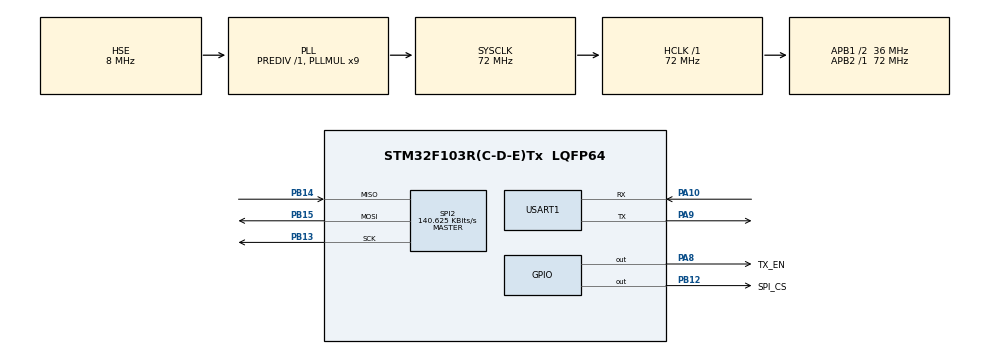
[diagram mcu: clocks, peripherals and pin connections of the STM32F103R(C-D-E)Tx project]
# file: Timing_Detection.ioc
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Dma.Request0=USART1_RX
Dma.Request1=USART1_TX
Dma.USART1_RX.0.Direction=DMA_PERIPH_TO_MEMORY
Dma.USART1_RX.0.Instance=DMA1_Channel5
Dma.USART1_RX.0.MemDataAlignment=DMA_MDATAALIGN_BYTE
Dma.USART1_RX.0.MemInc=DMA_MINC_ENABLE
Dma.USART1_RX.0.Mode=DMA_NORMAL
Dma.USART1_RX.0.PeriphDataAlignment=DMA_PDATAALIGN_BYTE
Dma.USART1_RX.0.PeriphInc=DMA_PINC_DISABLE
Dma.USART1_RX.0.Priority=DMA_PRIORITY_LOW
Dma.USART1_TX.1.Direction=DMA_MEMORY_TO_PERIPH
Dma.USART1_TX.1.Instance=DMA1_Channel4
Dma.USART1_TX.1.MemDataAlignment=DMA_MDATAALIGN_BYTE
Dma.USART1_TX.1.MemInc=DMA_MINC_ENABLE
Dma.USART1_TX.1.Mode=DMA_NORMAL
Dma.USART1_TX.1.PeriphDataAlignment=DMA_PDATAALIGN_BYTE
Dma.USART1_TX.1.PeriphInc=DMA_PINC_DISABLE
Dma.USART1_TX.1.Priority=DMA_PRIORITY_LOW
FREERTOS.Queues01=PlcStaQueue,45,PLC_StaTypeDef,0,Dynamic,NULL,NULL
FREERTOS.Tasks01=defaultTask,0,128,StartDefaultTask,Default,NULL,Dynamic,NULL,NULL
FREERTOS.configGENERATE_RUN_TIME_STATS=0
Mcu.Family=STM32F1
Mcu.Name=STM32F103R(C-D-E)Tx
Mcu.Package=LQFP64
NVIC.DMA1_Channel4_IRQn=true\:5\:0\:false\:false\:true\:true\:false\:true
NVIC.DMA1_Channel5_IRQn=true\:5\:0\:false\:false\:true\:true\:false\:true
NVIC.EXTI0_IRQn=true\:5\:0\:false\:false\:true\:true\:true\:true
NVIC.EXTI15_10_IRQn=true\:5\:0\:false\:false\:true\:true\:true\:true
NVIC.EXTI1_IRQn=true\:5\:0\:false\:false\:true\:true\:true\:true
NVIC.EXTI2_IRQn=true\:5\:0\:false\:false\:true\:true\:true\:true
NVIC.EXTI3_IRQn=true\:5\:0\:false\:false\:true\:true\:true\:true
NVIC.PriorityGroup=NVIC_PRIORITYGROUP_4
NVIC.TIM7_IRQn=true\:0\:0\:false\:false\:true\:false\:false\:true
NVIC.TimeBase=TIM7_IRQn
NVIC.TimeBaseIP=TIM7
NVIC.USART1_IRQn=true\:6\:0\:true\:true\:true\:1\:true\:true\:true
<<<<<<< HEAD
PA0-WKUP.GPIO_ModeDefaultEXTI=GPIO_MODE_IT_RISING_FALLING
PA0-WKUP.GPIO_PuPd=GPIO_PULLUP
PA0-WKUP.Signal=GPXTI0
PA1.GPIO_ModeDefaultEXTI=GPIO_MODE_IT_RISING_FALLING
PA1.GPIO_PuPd=GPIO_PULLUP
PA1.Signal=GPXTI1
=======
PA0-WKUP.GPIO_PuPd=GPIO_NOPULL
PA0-WKUP.Signal=S_TIM5_CH1
PA1.GPIO_PuPd=GPIO_NOPULL
PA1.Signal=S_TIM5_CH2
>>>>>>> parent of 2d3912e... Revert "合并分支"
PA10.Mode=Asynchronous
PA10.Signal=USART1_RX
PA13.Mode=Serial_Wire
PA13.Signal=SYS_JTMS-SWDIO
PA14.Mode=Serial_Wire
PA14.Signal=SYS_JTCK-SWCLK
<<<<<<< HEAD
PA2.GPIO_ModeDefaultEXTI=GPIO_MODE_IT_RISING_FALLING
PA2.GPIO_PuPd=GPIO_PULLUP
PA2.Signal=GPXTI2
PA3.GPIO_ModeDefaultEXTI=GPIO_MODE_IT_RISING_FALLING
PA3.GPIO_PuPd=GPIO_PULLUP
PA3.Signal=GPXTI3
=======
PA15.GPIO_PuPd=GPIO_NOPULL
PA15.Signal=S_TIM2_CH1_ETR
PA2.GPIO_PuPd=GPIO_NOPULL
PA2.Signal=S_TIM5_CH3
PA3.GPIO_PuPd=GPIO_NOPULL
PA3.Signal=S_TIM5_CH4
>>>>>>> parent of 2d3912e... Revert "合并分支"
PA8.GPIO_Label=TX_EN
PA8.GPIO_PuPd=GPIO_NOPULL
PA8.GPIO_Speed=GPIO_SPEED_FREQ_HIGH
PA8.PinState=GPIO_PIN_RESET
PA8.Signal=GPIO_Output
PA9.Mode=Asynchronous
PA9.Signal=USART1_TX
<<<<<<< HEAD
PB10.GPIO_ModeDefaultEXTI=GPIO_MODE_IT_RISING_FALLING
PB10.GPIO_PuPd=GPIO_PULLUP
PB10.Signal=GPXTI10
PB11.GPIO_ModeDefaultEXTI=GPIO_MODE_IT_RISING_FALLING
PB11.GPIO_PuPd=GPIO_PULLUP
PB11.Signal=GPXTI11
=======
PB0.GPIO_PuPd=GPIO_NOPULL
PB0.Signal=S_TIM3_CH3
PB1.GPIO_PuPd=GPIO_NOPULL
PB1.Signal=S_TIM3_CH4
PB10.GPIO_PuPd=GPIO_NOPULL
PB10.Signal=S_TIM2_CH3
PB11.GPIO_PuPd=GPIO_NOPULL
PB11.Signal=S_TIM2_CH4
>>>>>>> parent of 2d3912e... Revert "合并分支"
PB12.GPIO_Label=SPI_CS
PB12.GPIO_Speed=GPIO_SPEED_FREQ_HIGH
PB12.PinState=GPIO_PIN_SET
PB12.Signal=GPIO_Output
PB13.Mode=Full_Duplex_Master
PB13.Signal=SPI2_SCK
PB14.Mode=Full_Duplex_Master
PB14.Signal=SPI2_MISO
PB15.Mode=Full_Duplex_Master
PB15.Signal=SPI2_MOSI
<<<<<<< HEAD
=======
PB3.GPIO_PuPd=GPIO_NOPULL
PB3.Signal=S_TIM2_CH2
>>>>>>> parent of 2d3912e... Revert "合并分支"
PB4.GPIO_PuPd=GPIO_NOPULL
PB4.Signal=S_TIM3_CH1
PB5.GPIO_PuPd=GPIO_NOPULL
PB5.Signal=S_TIM3_CH2
<<<<<<< HEAD
=======
PB6.GPIO_PuPd=GPIO_NOPULL
PB6.Signal=S_TIM4_CH1
PB7.GPIO_PuPd=GPIO_NOPULL
PB7.Signal=S_TIM4_CH2
PB8.GPIO_PuPd=GPIO_NOPULL
PB8.Signal=S_TIM4_CH3
PB9.GPIO_PuPd=GPIO_NOPULL
PB9.Signal=S_TIM4_CH4
>>>>>>> parent of 2d3912e... Revert "合并分支"
PC14-OSC32_IN.Mode=LSE-External-Oscillator
PC14-OSC32_IN.Signal=RCC_OSC32_IN
PC15-OSC32_OUT.Mode=LSE-External-Oscillator
PC15-OSC32_OUT.Signal=RCC_OSC32_OUT
PD0-OSC_IN.Mode=HSE-External-Oscillator
PD0-OSC_IN.Signal=RCC_OSC_IN
PD1-OSC_OUT.Mode=HSE-External-Oscillator
PD1-OSC_OUT.Signal=RCC_OSC_OUT
ProjectManager.HeapSize=0x200
ProjectManager.StackSize=0x400
ProjectManager.TargetToolchain=MDK-ARM V5
RCC.AHBFreq_Value=72000000
RCC.APB1CLKDivider=RCC_HCLK_DIV2
RCC.APB1Freq_Value=36000000
RCC.APB1TimFreq_Value=72000000
RCC.APB2Freq_Value=72000000
RCC.APB2TimFreq_Value=72000000
RCC.HCLKFreq_Value=72000000
RCC.PLLMUL=RCC_PLL_MUL9
RCC.PLLSourceVirtual=RCC_PLLSOURCE_HSE
RCC.SYSCLKFreq_VALUE=72000000
RCC.SYSCLKSource=RCC_SYSCLKSOURCE_PLLCLK
RCC.USBFreq_Value=72000000
SH.S_TIM3_CH1.0=TIM3_CH1
SH.S_TIM3_CH2.0=TIM3_CH2
SPI2.BaudRatePrescaler=SPI_BAUDRATEPRESCALER_256
SPI2.CalculateBaudRate=140.625 KBits/s
SPI2.Direction=SPI_DIRECTION_2LINES
SPI2.Mode=SPI_MODE_MASTER
SPI2.VirtualType=VM_MASTER
TIM2.Period=0xffff
TIM2.Prescaler=72-1
TIM6.Period=65535
TIM6.Prescaler=72-1
USART1.VirtualMode=VM_ASYNC
VP_FREERTOS_VS_CMSIS_V1.Mode=CMSIS_V1
VP_SYS_VS_tim7.Mode=TIM7
VP_TIM2_VS_ClockSourceINT.Mode=Internal
VP_TIM6_VS_ClockSourceINT.Mode=Enable_Timer
board=custom

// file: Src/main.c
/* USER CODE BEGIN Header */
/**
  ******************************************************************************
  * @file           : main.c
  * @brief          : Main program body
  ******************************************************************************
  * @attention
  *
  * <h2><center>&copy; Copyright (c) 2019 STMicroelectronics.
  * All rights reserved.</center></h2>
  *
  * This software component is licensed by ST under Ultimate Liberty license
  * SLA0044, the "License"; You may not use this file except in compliance with
  * the License. You may obtain a copy of the License at:
  *                             www.st.com/SLA0044
  *
  ******************************************************************************
  */
/* USER CODE END Header */

#include "main.h"
#include "cmsis_os.h"
#include "dma.h"
#include "spi.h"
#include "tim.h"
#include "usart.h"
#include "gpio.h"

/* USER CODE BEGIN Includes */
#ifdef debug
#include "SEGGER_SYSVIEW.h"
#endif // debug
#include "w25qxx.h"
/* USER CODE END Includes */

void SystemClock_Config(void);
void MX_FREERTOS_Init(void);
static void MX_NVIC_Init(void);

int main(void)
{

  /* MCU Configuration--------------------------------------------------------*/

  /* Reset of all peripherals, Initializes the Flash interface and the Systick. */
  HAL_Init();

  /* Configure the system clock */
  SystemClock_Config();

  /* Initialize all configured peripherals */
  MX_GPIO_Init();
  MX_DMA_Init();
  MX_SPI2_Init();
  MX_USART1_UART_Init();
  MX_TIM6_Init();
  MX_TIM2_Init();

  /* Initialize interrupts */
  MX_NVIC_Init();
  /* USER CODE BEGIN 2 */
  W25QXX_Init();
  __HAL_TIM_ENABLE(&htim2);
  #ifdef debug
	SEGGER_SYSVIEW_Conf();
  #endif // debug
  /* USER CODE END 2 */

  /* Call init function for freertos objects (in freertos.c) */
  MX_FREERTOS_Init();

  /* Start scheduler */
  osKernelStart();

  /* We should never get here as control is now taken by the scheduler */

  /* Infinite loop */
  while (1)
  {

  }
}

void SystemClock_Config(void)
{
  RCC_OscInitTypeDef RCC_OscInitStruct = {0};
  RCC_ClkInitTypeDef RCC_ClkInitStruct = {0};

  /** Initializes the CPU, AHB and APB busses clocks
  */
  RCC_OscInitStruct.OscillatorType = RCC_OSCILLATORTYPE_HSE;
  RCC_OscInitStruct.HSEState = RCC_HSE_ON;
  RCC_OscInitStruct.HSEPredivValue = RCC_HSE_PREDIV_DIV1;
  RCC_OscInitStruct.HSIState = RCC_HSI_ON;
  RCC_OscInitStruct.PLL.PLLState = RCC_PLL_ON;
  RCC_OscInitStruct.PLL.PLLSource = RCC_PLLSOURCE_HSE;
  RCC_OscInitStruct.PLL.PLLMUL = RCC_PLL_MUL9;
  if (HAL_RCC_OscConfig(&RCC_OscInitStruct) != HAL_OK)
  {
    Error_Handler();
  }
  /** Initializes the CPU, AHB and APB busses clocks
  */
  RCC_ClkInitStruct.ClockType = RCC_CLOCKTYPE_HCLK|RCC_CLOCKTYPE_SYSCLK
                              |RCC_CLOCKTYPE_PCLK1|RCC_CLOCKTYPE_PCLK2;
  RCC_ClkInitStruct.SYSCLKSource = RCC_SYSCLKSOURCE_PLLCLK;
  RCC_ClkInitStruct.AHBCLKDivider = RCC_SYSCLK_DIV1;
  RCC_ClkInitStruct.APB1CLKDivider = RCC_HCLK_DIV2;
  RCC_ClkInitStruct.APB2CLKDivider = RCC_HCLK_DIV1;

  if (HAL_RCC_ClockConfig(&RCC_ClkInitStruct, FLASH_LATENCY_2) != HAL_OK)
  {
    Error_Handler();
  }
}

/**
  * @brief NVIC Configuration.
  * @retval None
  */
static void MX_NVIC_Init(void)
{
  /* USART1_IRQn interrupt configuration */
  HAL_NVIC_SetPriority(USART1_IRQn, 6, 0);
  HAL_NVIC_EnableIRQ(USART1_IRQn);
}

void HAL_TIM_PeriodElapsedCallback(TIM_HandleTypeDef *htim)
{
  if (htim->Instance == TIM7) {
    HAL_IncTick();
  }
}

void Error_Handler(void)
{
}

/************************ (C) COPYRIGHT STMicroelectronics *****END OF FILE****/

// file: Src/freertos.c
/* USER CODE BEGIN Header */
/**
  ******************************************************************************
  * File Name          : freertos.c
  * Description        : Code for freertos applications
  ******************************************************************************
  * @attention
  *
  * <h2><center>&copy; Copyright (c) 2019 STMicroelectronics.
  * All rights reserved.</center></h2>
  *
  * This software component is licensed by ST under Ultimate Liberty license
  * SLA0044, the "License"; You may not use this file except in compliance with
  * the License. You may obtain a copy of the License at:
  *                             www.st.com/SLA0044
  *
  ******************************************************************************
  */
/* USER CODE END Header */

#include "FreeRTOS.h"
#include "task.h"
#include "main.h"
#include "cmsis_os.h"

/* USER CODE BEGIN Includes */
#include "tim.h"
/* USER CODE END Includes */

/* USER CODE BEGIN Variables */
osThreadId SendPlcStaTaskHandle;
PLC_StaTypeDef plc;
/* USER CODE END Variables */
osThreadId defaultTaskHandle;
osMessageQId PlcStaQueueHandle;

/* USER CODE BEGIN FunctionPrototypes */
void Send_PLC_StaTask(void const* argument);
void CleanTimeCnt(void);
/* USER CODE END FunctionPrototypes */

void StartDefaultTask(void const * argument);

void MX_FREERTOS_Init(void); /* (MISRA C 2004 rule 8.1) */

void MX_FREERTOS_Init(void) {

  /* Create the queue(s) */
  /* definition and creation of PlcStaQueue */
  osMessageQDef(PlcStaQueue, 45, PLC_StaTypeDef);
  PlcStaQueueHandle = osMessageCreate(osMessageQ(PlcStaQueue), NULL);

  /* Create the thread(s) */
  /* definition and creation of defaultTask */
  osThreadDef(defaultTask, StartDefaultTask, osPriorityNormal, 0, 128);
  defaultTaskHandle = osThreadCreate(osThread(defaultTask), NULL);

  /* USER CODE BEGIN RTOS_THREADS */
  /* add threads, ... */
  osThreadDef(SendPlcStaTask, Send_PLC_StaTask, osPriorityLow, 0, 128);
  SendPlcStaTaskHandle = osThreadCreate(osThread(SendPlcStaTask), NULL);
  /* USER CODE END RTOS_THREADS */

}

void StartDefaultTask(void const * argument)
{

  /* USER CODE BEGIN StartDefaultTask */
  vTaskDelete( NULL );
  /* USER CODE END StartDefaultTask */
}

/* USER CODE BEGIN Application */
void Send_PLC_StaTask(void const *argument)
{
  PLC_StaTypeDef plc;
  for (;;)
  {
    TX_EN = 1;
    xQueueReceive(PlcStaQueueHandle,                    /* 消息队列句柄 */
                            (void *)&plc,   /* 存储接收到的数据到变量plc中 */
                            portMAX_DELAY); /* 设置阻塞时间 */
			#ifdef debug
			/* 打印一个由SystemView格式化的字符串. */
      SEGGER_SYSVIEW_OnTaskStartExec((unsigned)SendPlcStaTaskHandle);
      SEGGER_SYSVIEW_PrintfHost("0x%02X,%05d\r\n", plc.CAPTURE_STA,plc.CAPTURE_VAL);
			#endif
      /* 成功接收，并通过串口将数据打印出来 */
//      printf("%X,%d\r\n\r\n", plc.CAPTURE_STA,plc.CAPTURE_VAL);
    TX_EN = 0;
  }
}
void HAL_GPIO_EXTI_Callback(uint16_t GPIO_Pin)
{
  #ifdef debug
	SEGGER_SYSVIEW_RecordEnterISR();
  #endif
  uint16_t ExtiLine;
  BaseType_t xHigherPriorityTaskWoken = pdFALSE;
  ExtiLine=GPIO_Pin;
  if ((EXTI->RTSR & ExtiLine) != 0)
  {
    EXTI->RTSR &= ~ExtiLine;
    EXTI->FTSR |= ExtiLine;
    plc.CAPTURE_STA |= ExtiLine;
  }
  else if ((EXTI->FTSR & ExtiLine) != 0)
  {
    EXTI->FTSR &= ~ExtiLine;
    EXTI->RTSR |= ExtiLine;
    plc.CAPTURE_STA &= ~ExtiLine;
  }
  plc.CAPTURE_VAL = __HAL_TIM_GET_COUNTER(&htim2);
  xQueueSendFromISR(PlcStaQueueHandle,
                    (void *)&plc,
                    &xHigherPriorityTaskWoken);
  portYIELD_FROM_ISR(xHigherPriorityTaskWoken);
  #ifdef debug
	SEGGER_SYSVIEW_RecordExitISR();
  #endif
}

/* USER CODE END Application */

/************************ (C) COPYRIGHT STMicroelectronics *****END OF FILE****/
